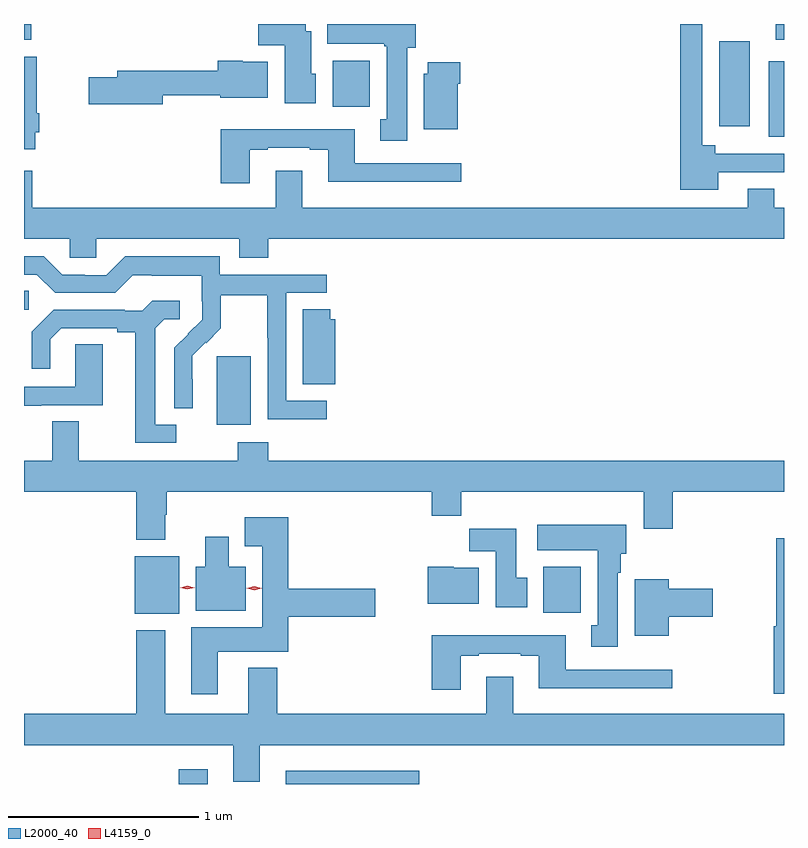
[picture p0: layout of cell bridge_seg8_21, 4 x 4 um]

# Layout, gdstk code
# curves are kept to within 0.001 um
import gdstk
lib = gdstk.Library(unit=1e-6, precision=1e-09)
def R(c, l, rs):  # rectangles x0, y0, x1, y1
    for r in rs: c.add(gdstk.rectangle(r[:2], r[2:], *l))
def P(c, l, *ps):  # polygons
    for p in ps: c.add(gdstk.Polygon(p, *l))
L2000_40 = (2000, 40)
L4159_0 = (4159, 0)

bridge_seg8_21 = lib.new_cell('bridge_seg8_21')
R(bridge_seg8_21, L2000_40, [(899.963,1148.263,900.115,1148.341), (900.527,1148.263,901.228,1148.332), (899.732,1149.158,899.965,1149.463), (901.883,1149.164,902.08,1149.406), (900.164,1150.154,900.343,1150.515), (899.149,1150.758,899.173,1150.859), (903.068,1151.669,903.149,1152.067), (902.807,1151.724,902.968,1152.172), (900.773,1151.828,900.97,1152.07), (899.149,1152.18,899.188,1152.263), (903.105,1152.18,903.149,1152.263)])
P(bridge_seg8_21, L2000_40, [(901.165,1152.138),(901.21,1152.138),(901.21,1152.263),(900.746,1152.263),(900.746,1152.158),(901.045,1152.158),(901.045,1152.145),(901.058,1152.145),(901.058,1151.762),(901.025,1151.762),(901.025,1151.649),(901.165,1151.649)],
  [(900.685,1152),(900.661,1152),(900.661,1152.226),(900.631,1152.226),(900.631,1152.263),(900.382,1152.263),(900.382,1152.152),(900.521,1152.152),(900.521,1151.846),(900.685,1151.846)],
  [(902.803,1151.484),(903.149,1151.484),(903.149,1151.58),(902.788,1151.58),(902.788,1151.626),(902.718,1151.626),(902.718,1152.263),(902.602,1152.263),(902.602,1151.39),(902.803,1151.39)],
  [(899.207,1151.694),(899.228,1151.694),(899.228,1151.794),(899.215,1151.794),(899.215,1152.091),(899.149,1152.091),(899.149,1151.604),(899.207,1151.604)],
  [(899.878,1151.887),(900.182,1151.887),(900.182,1151.876),(900.433,1151.876),(900.433,1152.064),(900.3,1152.064),(900.3,1152.07),(900.17,1152.07),(900.17,1152.016),(899.639,1152.016),(899.639,1151.982),(899.49,1151.982),(899.49,1151.84),(899.878,1151.84)],
  [(901.432,1151.948),(901.445,1151.948),(901.445,1152.061),(901.274,1152.061),(901.274,1152),(901.253,1152),(901.253,1151.708),(901.432,1151.708)],
  [(900.337,1151.601),(900.433,1151.601),(900.433,1151.613),(900.653,1151.613),(900.653,1151.601),(900.749,1151.601),(900.749,1151.432),(901.45,1151.432),(901.45,1151.529),(900.889,1151.529),(900.889,1151.71),(900.185,1151.71),(900.185,1151.424),(900.337,1151.424)],
  [(899.192,1151.491),(899.149,1151.491),(899.149,1151.132),(899.391,1151.132),(899.391,1151.034),(899.529,1151.034),(899.529,1151.132),(900.281,1151.132),(900.281,1151.033),(900.434,1151.033),(900.434,1151.132),(903.149,1151.132),(903.149,1151.296),(903.097,1151.296),(903.097,1151.395),(902.957,1151.395),(902.957,1151.296),(900.613,1151.296),(900.613,1151.491),(900.473,1151.491),(900.473,1151.296),(899.192,1151.296)],
  [(900.742,1150.281),(900.528,1150.281),(900.528,1150.848),(900.742,1150.848),(900.742,1150.944),(900.18,1150.944),(900.18,1151.041),(899.683,1151.041),(899.583,1150.941),(899.468,1150.941),(899.468,1150.944),(899.349,1150.944),(899.253,1151.04),(899.149,1151.04),(899.149,1150.944),(899.217,1150.944),(899.313,1150.848),(899.628,1150.848),(899.721,1150.941),(899.821,1150.941),(899.821,1150.937),(900.084,1150.937),(900.084,1150.803),(900.086,1150.803),(900.086,1150.706),(899.94,1150.558),(899.94,1150.24),(900.036,1150.24),(900.035,1150.517),(900.105,1150.587),(900.108,1150.584),(900.185,1150.661),(900.185,1150.836),(900.43,1150.836),(900.43,1150.612),(900.432,1150.612),(900.432,1150.183),(900.742,1150.183)],
  [(899.95,1150.155),(899.839,1150.155),(899.839,1150.663),(899.886,1150.71),(899.968,1150.71),(899.968,1150.807),(899.824,1150.807),(899.772,1150.755),(899.678,1150.755),(899.678,1150.758),(899.306,1150.758),(899.19,1150.642),(899.19,1150.449),(899.287,1150.449),(899.287,1150.605),(899.344,1150.662),(899.639,1150.662),(899.639,1150.64),(899.735,1150.64),(899.735,1150.059),(899.95,1150.059)],
  [(900.788,1150.71),(900.761,1150.71),(900.761,1150.763),(900.617,1150.763),(900.617,1150.366),(900.788,1150.366)],
  [(899.239,1150.257),(899.563,1150.257),(899.563,1150.577),(899.418,1150.577),(899.418,1150.353),(899.149,1150.353),(899.149,1150.253),(899.239,1150.253)],
  [(899.893,1149.68),(899.901,1149.68),(899.901,1149.8),(901.295,1149.8),(901.295,1149.676),(901.451,1149.676),(901.451,1149.8),(902.411,1149.8),(902.411,1149.606),(902.564,1149.606),(902.564,1149.8),(903.149,1149.8),(903.149,1149.964),(900.434,1149.964),(900.434,1150.063),(900.274,1150.063),(900.274,1149.964),(899.437,1149.964),(899.437,1150.172),(899.297,1150.172),(899.297,1149.964),(899.149,1149.964),(899.149,1149.8),(899.741,1149.8),(899.741,1149.548),(899.893,1149.548)],
  [(900.169,1148.96),(900.539,1148.96),(900.539,1149.143),(900.997,1149.143),(900.997,1149.29),(900.539,1149.29),(900.539,1149.667),(900.311,1149.667),(900.311,1149.515),(900.404,1149.515),(900.404,1149.088),(900.029,1149.088),(900.029,1148.736),(900.169,1148.736)],
  [(902.275,1149.374),(902.29,1149.374),(902.29,1149.474),(902.32,1149.474),(902.32,1149.628),(901.851,1149.628),(901.851,1149.494),(902.168,1149.494),(902.168,1149.098),(902.135,1149.098),(902.135,1148.985),(902.275,1148.985)],
  [(901.798,1149.348),(901.741,1149.348),(901.741,1149.607),(901.492,1149.607),(901.492,1149.488),(901.631,1149.488),(901.631,1149.192),(901.798,1149.192)],
  [(900.316,1149.406),(900.226,1149.406),(900.226,1149.565),(900.104,1149.565),(900.104,1149.406),(900.053,1149.406),(900.053,1149.176),(900.316,1149.176)],
  [(903.149,1149.556),(903.107,1149.556),(903.107,1149.094),(903.095,1149.094),(903.095,1148.739),(903.149,1148.739)],
  [(901.543,1149.4),(901.41,1149.4),(901.41,1149.406),(901.274,1149.406),(901.274,1149.212),(901.543,1149.212)],
  [(902.542,1149.143),(902.773,1149.143),(902.773,1149.29),(902.542,1149.29),(902.542,1149.34),(902.363,1149.34),(902.363,1149.044),(902.542,1149.044)],
  [(900.391,1148.468),(903.149,1148.468),(903.149,1148.632),(901.723,1148.632),(901.723,1148.827),(901.583,1148.827),(901.583,1148.632),(900.482,1148.632),(900.482,1148.875),(900.329,1148.875),(900.329,1148.632),(899.893,1148.632),(899.893,1149.073),(899.741,1149.073),(899.741,1148.632),(899.149,1148.632),(899.149,1148.468),(900.251,1148.468),(900.251,1148.274),(900.391,1148.274)],
  [(901.447,1148.937),(901.543,1148.937),(901.543,1148.949),(901.763,1148.949),(901.763,1148.937),(901.859,1148.937),(901.859,1148.768),(902.56,1148.768),(902.56,1148.865),(901.999,1148.865),(901.999,1149.046),(901.295,1149.046),(901.295,1148.76),(901.447,1148.76)])
P(bridge_seg8_21, L4159_0, [(900.36,1149.284),(900.321,1149.294),(900.321,1149.294),(900.321,1149.294),(900.361,1149.304),(900.4,1149.294),(900.4,1149.293),(900.4,1149.293)],
  [(900.009,1149.287),(899.972,1149.296),(899.971,1149.297),(899.972,1149.297),(900.009,1149.307),(900.047,1149.297),(900.047,1149.297),(900.047,1149.296)])

lib.write_gds('bridge_seg8_21.gds')
